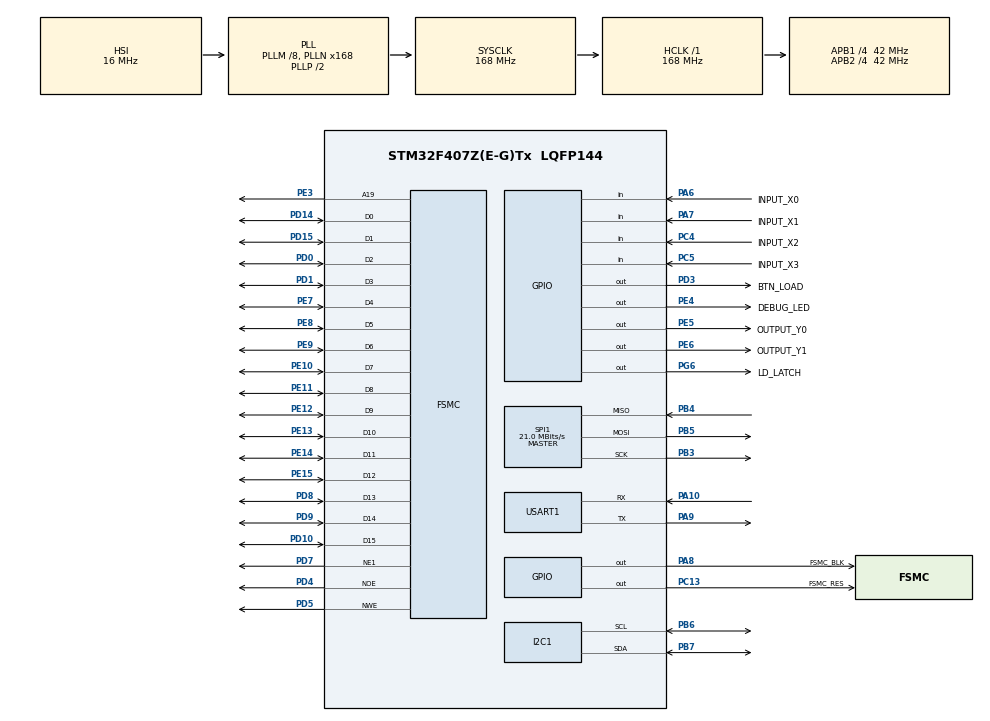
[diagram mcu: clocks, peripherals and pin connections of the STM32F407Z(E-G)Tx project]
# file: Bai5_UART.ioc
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FSMC.AddressSetupTime1=0xf
FSMC.BusTurnAroundDuration1=0
FSMC.DataSetupTime1=60
FSMC.ExtendedAddressSetupTime1=8
FSMC.ExtendedBusTurnAroundDuration1=0
FSMC.ExtendedDataSetupTime1=9
FSMC.ExtendedMode1=FSMC_EXTENDED_MODE_ENABLE
I2C1.I2C_Mode=I2C_Standard
Mcu.Family=STM32F4
Mcu.Name=STM32F407Z(E-G)Tx
Mcu.Package=LQFP144
NVIC.PriorityGroup=NVIC_PRIORITYGROUP_4
NVIC.TIM2_IRQn=true\:0\:0\:false\:false\:true\:true\:true\:true
NVIC.USART1_IRQn=true\:0\:0\:false\:false\:true\:true\:true\:true
PA10.Mode=Asynchronous
PA10.Signal=USART1_RX
PA13.Mode=Serial_Wire
PA13.Signal=SYS_JTMS-SWDIO
PA14.Mode=Serial_Wire
PA14.Signal=SYS_JTCK-SWCLK
PA6.GPIO_Label=INPUT_X0
PA6.Signal=GPIO_Input
PA7.GPIO_Label=INPUT_X1
PA7.Signal=GPIO_Input
PA8.GPIO_Label=FSMC_BLK
PA8.Signal=GPIO_Output
PA9.Mode=Asynchronous
PA9.Signal=USART1_TX
PB3.Mode=Full_Duplex_Master
PB3.Signal=SPI1_SCK
PB4.Mode=Full_Duplex_Master
PB4.Signal=SPI1_MISO
PB5.Mode=Full_Duplex_Master
PB5.Signal=SPI1_MOSI
PB6.Mode=I2C
PB6.Signal=I2C1_SCL
PB7.Mode=I2C
PB7.Signal=I2C1_SDA
PC13-ANTI_TAMP.GPIO_Label=FSMC_RES
PC13-ANTI_TAMP.Signal=GPIO_Output
PC4.GPIO_Label=INPUT_X2
PC4.Signal=GPIO_Input
PC5.GPIO_Label=INPUT_X3
PC5.Signal=GPIO_Input
PD0.Signal=FSMC_D2_DA2
PD1.Signal=FSMC_D3_DA3
PD10.Signal=FSMC_D15_DA15
PD14.Signal=FSMC_D0_DA0
PD15.Signal=FSMC_D1_DA1
PD3.GPIO_Label=BTN_LOAD
PD3.Signal=GPIO_Output
PD4.Signal=FSMC_NOE
PD5.Signal=FSMC_NWE
PD7.Mode=NorPsramChipSelect1_1
PD7.Signal=FSMC_NE1
PD8.Signal=FSMC_D13_DA13
PD9.Signal=FSMC_D14_DA14
PE10.Signal=FSMC_D7_DA7
PE11.Signal=FSMC_D8_DA8
PE12.Signal=FSMC_D9_DA9
PE13.Signal=FSMC_D10_DA10
PE14.Signal=FSMC_D11_DA11
PE15.Signal=FSMC_D12_DA12
PE3.Signal=FSMC_A19
PE4.GPIO_Label=DEBUG_LED
PE4.Signal=GPIO_Output
PE5.GPIO_Label=OUTPUT_Y0
PE5.Signal=GPIO_Output
PE6.GPIO_Label=OUTPUT_Y1
PE6.Signal=GPIO_Output
PE7.Signal=FSMC_D4_DA4
PE8.Signal=FSMC_D5_DA5
PE9.Signal=FSMC_D6_DA6
PG6.GPIO_Label=LD_LATCH
PG6.Signal=GPIO_Output
PH0-OSC_IN.Mode=HSE-External-Oscillator
PH0-OSC_IN.Signal=RCC_OSC_IN
PH1-OSC_OUT.Mode=HSE-External-Oscillator
PH1-OSC_OUT.Signal=RCC_OSC_OUT
ProjectManager.HeapSize=0x200
ProjectManager.StackSize=0x400
ProjectManager.TargetToolchain=STM32CubeIDE
RCC.48MHZClocksFreq_Value=84000000
RCC.AHBFreq_Value=168000000
RCC.APB1CLKDivider=RCC_HCLK_DIV4
RCC.APB1Freq_Value=42000000
RCC.APB1TimFreq_Value=84000000
RCC.APB2CLKDivider=RCC_HCLK_DIV4
RCC.APB2Freq_Value=42000000
RCC.APB2TimFreq_Value=84000000
RCC.CortexFreq_Value=168000000
RCC.HCLKFreq_Value=168000000
RCC.HSE_VALUE=8000000
RCC.HSI_VALUE=16000000
RCC.LSE_VALUE=32768
RCC.PLLM=8
RCC.PLLN=168
RCC.SYSCLKFreq_VALUE=168000000
RCC.SYSCLKSource=RCC_SYSCLKSOURCE_PLLCLK
RCC.VCOOutputFreq_Value=336000000
SH.FSMC_A19.0=FSMC_A19,A19_1
SH.FSMC_D0_DA0.0=FSMC_D0,16b-d1
SH.FSMC_D10_DA10.0=FSMC_D10,16b-d1
SH.FSMC_D11_DA11.0=FSMC_D11,16b-d1
SH.FSMC_D12_DA12.0=FSMC_D12,16b-d1
SH.FSMC_D13_DA13.0=FSMC_D13,16b-d1
SH.FSMC_D14_DA14.0=FSMC_D14,16b-d1
SH.FSMC_D15_DA15.0=FSMC_D15,16b-d1
SH.FSMC_D1_DA1.0=FSMC_D1,16b-d1
SH.FSMC_D2_DA2.0=FSMC_D2,16b-d1
SH.FSMC_D3_DA3.0=FSMC_D3,16b-d1
SH.FSMC_D4_DA4.0=FSMC_D4,16b-d1
SH.FSMC_D5_DA5.0=FSMC_D5,16b-d1
SH.FSMC_D6_DA6.0=FSMC_D6,16b-d1
SH.FSMC_D7_DA7.0=FSMC_D7,16b-d1
SH.FSMC_D8_DA8.0=FSMC_D8,16b-d1
SH.FSMC_D9_DA9.0=FSMC_D9,16b-d1
SH.FSMC_NOE.0=FSMC_NOE,Lcd1
SH.FSMC_NWE.0=FSMC_NWE,Lcd1
SPI1.BaudRatePrescaler=SPI_BAUDRATEPRESCALER_2
SPI1.CalculateBaudRate=21.0 MBits/s
SPI1.Direction=SPI_DIRECTION_2LINES
SPI1.Mode=SPI_MODE_MASTER
SPI1.VirtualType=VM_MASTER
TIM2.Period=100-1
TIM2.Prescaler=840-1
USART1.VirtualMode=VM_ASYNC
VP_TIM2_VS_ClockSourceINT.Mode=Internal
board=custom

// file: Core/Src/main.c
/* USER CODE BEGIN Header */
/**
  ******************************************************************************
  * @file           : main.c
  * @brief          : Main program body
  ******************************************************************************
  */
/* USER CODE END Header */
#include "main.h"
#include "i2c.h"
#include "spi.h"
#include "tim.h"
#include "gpio.h"
#include "fsmc.h"

/* USER CODE BEGIN Includes */
#include "software_timer.h"
#include "led_7seg.h"
#include "button.h"
#include "lcd.h"
#include "picture.h"
#include "ds3231.h"
#include "clock_fsm.h"
#include "uart.h"
#include "usart.h"
/* USER CODE END Includes */

/* USER CODE BEGIN PV */
uint8_t count_led_debug = 0;
/* USER CODE END PV */

void SystemClock_Config(void);
/* USER CODE BEGIN PFP */
void system_init();
void test_LedDebug();
void updateTime(void); // Function to set current time
/* USER CODE END PFP */

int main(void)
{

  /* MCU Configuration--------------------------------------------------------*/

  /* Reset of all peripherals, Initializes the Flash interface and the Systick. */
  HAL_Init();

  /* Configure the system clock */
  SystemClock_Config();

  /* Initialize all configured peripherals */
  MX_GPIO_Init();
  MX_TIM2_Init();
  MX_SPI1_Init();
  MX_FSMC_Init();
  MX_I2C1_Init();
  MX_USART1_UART_Init();
  /* USER CODE BEGIN 2 */
  system_init();
  /* USER CODE END 2 */

  /* Infinite loop */
  /* USER CODE BEGIN WHILE */
  lcd_Clear(BLACK);

  // updateTime(); // Tắt hàm này đi để không ghi đè thời gian mỗi khi reset

  ds3231_ReadTime(); // Initial time read

  while (1)
  {
	  // 1. Wait for 50ms timer tick
	  while(!flag_timer2);
	  flag_timer2 = 0;

	  // 2. Scan buttons
	  button_Scan();

	  // 3. [THÊM VÀO] Process incoming UART bytes into command buffer
	  uart_process_incoming_data();

	  // 4. Run the clock FSM logic
	  clock_fsm_run();

    /* USER CODE END WHILE */

  }
}

void SystemClock_Config(void)
{
  RCC_OscInitTypeDef RCC_OscInitStruct = {0};
  RCC_ClkInitTypeDef RCC_ClkInitStruct = {0};

  /** Configure the main internal regulator output voltage
  */
  __HAL_RCC_PWR_CLK_ENABLE();
  __HAL_PWR_VOLTAGESCALING_CONFIG(PWR_REGULATOR_VOLTAGE_SCALE1);
  /** Initializes the RCC Oscillators according to the specified parameters
  * in the RCC_OscInitTypeDef structure.
  */
  RCC_OscInitStruct.OscillatorType = RCC_OSCILLATORTYPE_HSI;
  RCC_OscInitStruct.HSIState = RCC_HSI_ON;
  RCC_OscInitStruct.HSICalibrationValue = RCC_HSICALIBRATION_DEFAULT;
  RCC_OscInitStruct.PLL.PLLState = RCC_PLL_ON;
  RCC_OscInitStruct.PLL.PLLSource = RCC_PLLSOURCE_HSI;
  RCC_OscInitStruct.PLL.PLLM = 8;
  RCC_OscInitStruct.PLL.PLLN = 168;
  RCC_OscInitStruct.PLL.PLLP = RCC_PLLP_DIV2;
  RCC_OscInitStruct.PLL.PLLQ = 4;
  if (HAL_RCC_OscConfig(&RCC_OscInitStruct) != HAL_OK)
  {
    Error_Handler();
  }
  /** Initializes the CPU, AHB and APB buses clocks
  */
  RCC_ClkInitStruct.ClockType = RCC_CLOCKTYPE_HCLK|RCC_CLOCKTYPE_SYSCLK
                              |RCC_CLOCKTYPE_PCLK1|RCC_CLOCKTYPE_PCLK2;
  RCC_ClkInitStruct.SYSCLKSource = RCC_SYSCLKSOURCE_PLLCLK;
  RCC_ClkInitStruct.AHBCLKDivider = RCC_SYSCLK_DIV1;
  RCC_ClkInitStruct.APB1CLKDivider = RCC_HCLK_DIV4;
  RCC_ClkInitStruct.APB2CLKDivider = RCC_HCLK_DIV4;

  if (HAL_RCC_ClockConfig(&RCC_ClkInitStruct, FLASH_LATENCY_5) != HAL_OK)
  {
    Error_Handler();
  }
}

/* USER CODE BEGIN 4 */
void system_init(){
	  HAL_GPIO_WritePin(OUTPUT_Y0_GPIO_Port, OUTPUT_Y0_Pin, 0);
	  HAL_GPIO_WritePin(OUTPUT_Y1_GPIO_Port, OUTPUT_Y1_Pin, 0);
	  HAL_GPIO_WritePin(DEBUG_LED_GPIO_Port, DEBUG_LED_Pin, 0);
	  timer_init();
	  led7_init();
	  button_init();
	  lcd_init();
	  ds3231_init();
	  setTimer2(50); // Set timer tick to 50ms
}

void test_LedDebug(){
	count_led_debug = (count_led_debug + 1)%20;
	if(count_led_debug == 0){
		HAL_GPIO_TogglePin(DEBUG_LED_GPIO_Port, DEBUG_LED_Pin);
	}
}

void test_7seg(){
	led7_SetDigit(0, 0, 0);
	led7_SetDigit(5, 1, 0);
	led7_SetDigit(4, 2, 0);
	led7_SetDigit(7, 3, 0);
}
void test_button(){
	for(int i = 0; i < 16; i++){
		if(button_count[i] == 1){
			led7_SetDigit(i/10, 2, 0);
			led7_SetDigit(i%10, 3, 0);
		}
	}
}

/**
 * @brief Set the RTC to the current time
 */
void updateTime(){
	ds3231_Write(ADDRESS_YEAR, 25);
	ds3231_Write(ADDRESS_MONTH, 11);
	ds3231_Write(ADDRESS_DATE, 5);
	ds3231_Write(ADDRESS_DAY, 3);
	ds3231_Write(ADDRESS_HOUR, 10);
	ds3231_Write(ADDRESS_MIN, 21);
	ds3231_Write(ADDRESS_SEC, 0);
}

/* USER CODE END 4 */

void Error_Handler(void)
{
  __disable_irq();
  while (1)
  {
  }
}

/************************ (C) COPYRIGHT STMicroelectronics *****END OF FILE****/
